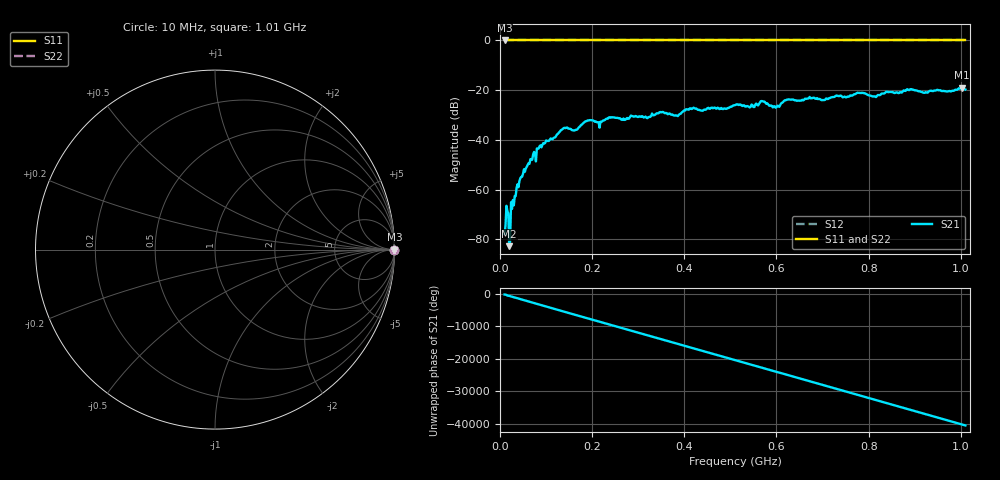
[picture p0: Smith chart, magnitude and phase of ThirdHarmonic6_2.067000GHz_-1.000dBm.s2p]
! 8/17/2025 12:45:59 AM
! C:\ANRITSUVNA\TEMP\TEMP.S2P
! CHANNEL.1
! TR.MEASUREMENT
! RAW.DATA
! RF.CORRECTION.OFF
! AVERAGING.OFF
! IF.BANDWIDTH: 5KHZ
! SWEEPTYPE:  FREQ.SWEEP(Linear)
! Reference Plane Port Info
! PORT:  PORT1  PORT2
! DISTANCE:  0  m  0  m
! TIME:  0  s  0  s
! PHASE.OFFSET:  0  deg.  0  deg.
! LOSS:  0  dB  0  dB
! REF.LOSS:  0  dB  0  dB
! REF.FREQ:  0  Hz  0  Hz
! Power Info
! POWER:  -20  dBm  -20  dBm
! EFF.POWER:  -20  dBm  -20  dBm
! SOURCE.ATTEN:  0  dB  0  dB
! TEST.ATTEN:  0  dB  0  dB
# GHZ S RI R 50.0
! FREQ.GHZ  S11RE  S11IM  S21RE  S21IM  S12RE  S12IM  S22RE  S22IM
!; PortSelection: Port_12
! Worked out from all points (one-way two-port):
!   501 points, 10 MHz to 1.01 GHz, reference 50 ohm
!   highest |S21| = -18.97 dB at 1.002 GHz (marker M1); lowest = -82.7 dB at 20 MHz (marker M2)
!   lowest |S11| = 0.0 dB at 10 MHz (marker M3)
!   |S11| at or under -10 dB: nowhere
!   |S22| runs from 0.0 to 0.0 dB; largest |S21 - S12| = 1.1
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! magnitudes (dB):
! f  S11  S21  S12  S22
! 10 MHz  0.0  -77.8  0.0  0.0
! 14 MHz  0.0  -66.5  0.0  0.0
! 20 MHz  0.0  -82.7  0.0  0.0
! 24 MHz  0.0  -65.1  0.0  0.0
! 28 MHz  0.0  -64.2  0.0  0.0
! 40 MHz  0.0  -59.0  0.0  0.0
! 84 MHz  0.0  -43.4  0.0  0.0
! 136 MHz  0.0  -35.6  0.0  0.0
! 164 MHz  0.0  -36.0  0.0  0.0
! 178 MHz  0.0  -33.8  0.0  0.0
! 344 MHz  0.0  -29.3  0.0  0.0
! 382 MHz  0.0  -30.1  0.0  0.0
! 416 MHz  0.0  -27.6  0.0  0.0
! 510 MHz  0.0  -26.0  0.0  0.0
! 540 MHz  0.0  -26.7  0.0  0.0
! 570 MHz  0.0  -24.4  0.0  0.0
! 596 MHz  0.0  -26.4  0.0  0.0
! 622 MHz  0.0  -23.9  0.0  0.0
! 678 MHz  0.0  -23.2  0.0  0.0
! 844 MHz  0.0  -20.8  0.0  0.0
! 1.002 GHz  0.0  -19.0  0.0  0.0
! 1.01 GHz  0.0  -19.7  0.0  0.0
